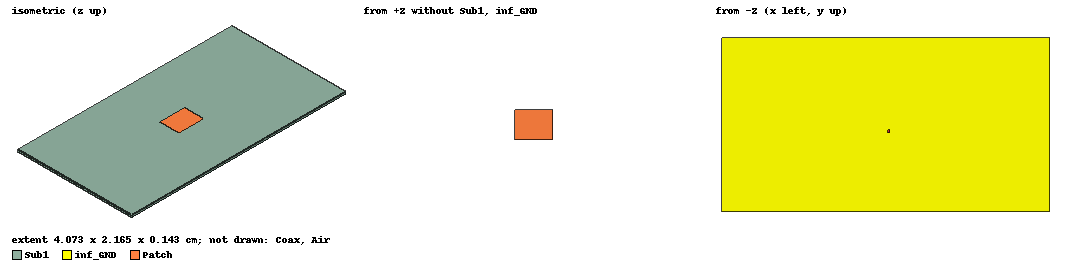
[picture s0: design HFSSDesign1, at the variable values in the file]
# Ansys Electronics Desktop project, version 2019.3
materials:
  vacuum: permittivity=1
  Rogers RT/duroid 5880 (tm): permittivity=2.2 dielectric_loss_tangent=0.0009
  pec: conductivity=1e+30
  Rogers RO4003 (tm): permittivity=3.55 dielectric_loss_tangent=0.0027

design HFSSDesign1 (HFSS, DrivenTerminal, model units cm)
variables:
  Lp = 4.73mm
  Wp = 3.65mm
  hs = 0.43mm
  Ws = (18+3.65) mm
  Ls = (36+4.73) mm
  xsub = (-36/2) mm
  ysub = (-18/2) mm
  xfeed = 2mm
  dp = 8.7125mm
  rcoax = 0.16mm
  hcoax = 1mm
  rprope = 0.07mm
  Lair = (70+40.73) mm
  Wair = (60+21.65) mm
  xair = (-70/2) mm
  yair = (-60/2) mm
  hair = 13.2mm
  yfeed = 1mm
  xp = 0mm
  yp = 0mm
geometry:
  Sub1 [Rogers RO4003 (tm)] = box(corner=(xsub, ysub, 0mm), size=(Ls, Ws, hs))
  inf_GND [Rogers RT/duroid 5880 (tm)] = rectangle(corner=(xsub, ysub, 0mm), x_size=Ls, y_size=Ws)
  Cut_Out = circle(normal=Z, centre=(xp+xfeed, yp+yfeed, 0mm), radius=rcoax)
  inf_GND.subtract(Cut_Out)
  Patch [Rogers RT/duroid 5880 (tm)] = rectangle(corner=(xp, yp, hs), x_size=Lp, y_size=Wp)
  Coax [vacuum] = cylinder(axis=Z, base_centre=(xp+xfeed, yp+yfeed, 0mm), radius=rcoax, height=-hcoax)
  Coax_Pin [pec] = cylinder(axis=Z, base_centre=(xp+xfeed, yp+yfeed, 0mm), radius=rprope, height=-hcoax)
  Port1 [pec] = circle(normal=Z, centre=(xp+xfeed, yp+yfeed, -hcoax), radius=rcoax)
  Prope [pec] = cylinder(axis=Z, base_centre=(xp+xfeed, yp+yfeed, 0mm), radius=rprope, height=hs)
  Air [vacuum] = box(corner=(xair, yair, 0mm), size=(Lair, Wair, hair))
  group Input_feed1 = Coax, Coax_Pin, Port1, Prope
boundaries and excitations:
  PerfE_inf_GND: Perfect E Objects=inf_GND
  PerfE_Patch: Perfect E Objects=Patch
  Rad1: Radiation Faces=Air.face(+x, +y, -y, -x, +z)
  Coax_Pin_T1: Terminal port=1 Faces=Coax_Pin.face(2 of 3) TerminalResistance=50ohm
  1: Wave Port Faces=Port1.face NumModes=1
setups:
  Setup1: HfssDriven Frequency=20GHz MaxDeltaS=0.02 MaximumPasses=18 MinimumPasses=1 MinimumConvergedPasses=1 PercentRefinement=30 BasisOrder=1 PortAccuracy=2
    sweep Sweep: 20GHz to 21GHz step 1GHz; Type=Fast SaveFields
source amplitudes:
  1:1: 1V 0deg
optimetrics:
  ParametricSetup1: Parametric Sim._Setups=[Setup1]
    sweep dp: LIN 7mm 9mm 1mm
    calculate dB(St(Coax_Pin2_T1,Coax_Pin_T1)) on Setup1 : Sweep at Freq 20GHz
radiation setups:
  Infinite Sphere1: Infinite Sphere Theta=-180deg..180deg step 2deg Phi=0deg..90deg step 90deg
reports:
  Terminal S Parameter Plot 2:
  Terminal S Parameter Plot 3: dB(St(Coax_Pin2_T1,Coax_Pin_T1)) vs Freq on Setup1 : Sweep
